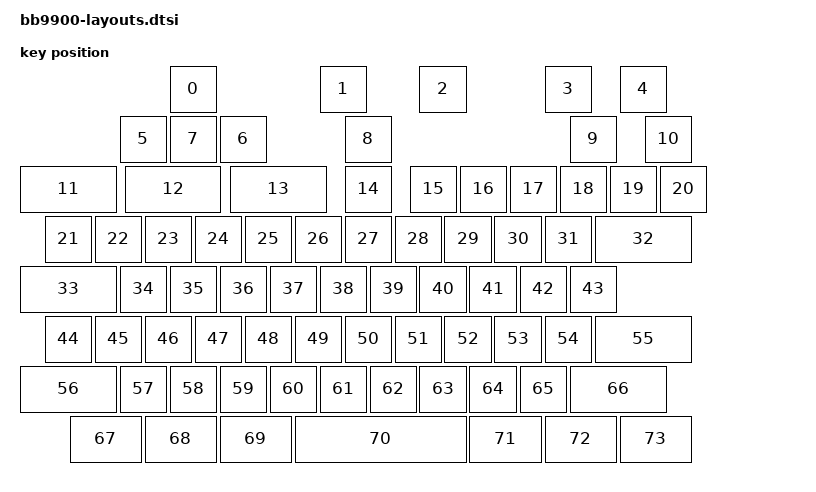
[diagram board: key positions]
/*
 * Copyright (c) 2026 The uc9900 contributors
 *
 * SPDX-License-Identifier: MIT
 */

#include <physical_layouts.dtsi>

/ {
    // Physical layout for the uConsole keyboard with the BB9900 trackpad.
    // Coordinates are in 1/100 of a key unit, generated from config/info.json.
    bb9900_layout: bb9900_layout {
        compatible = "zmk,physical-layout";
        display-name = "uConsole 9900";
        transform = <&default_transform>;

        keys  //                     w   h    x    y   rot    rx    ry
            = <&key_physical_attrs 100 100  300    0   0    0     0>
            , <&key_physical_attrs 100 100  600    0   0    0     0>
            , <&key_physical_attrs 100 100  800    0   0    0     0>
            , <&key_physical_attrs 100 100 1050    0   0    0     0>
            , <&key_physical_attrs 100 100 1200    0   0    0     0>
            , <&key_physical_attrs 100 100  200  100   0    0     0>
            , <&key_physical_attrs 100 100  400  100   0    0     0>
            , <&key_physical_attrs 100 100  300  100   0    0     0>
            , <&key_physical_attrs 100 100  650  100   0    0     0>
            , <&key_physical_attrs 100 100 1100  100   0    0     0>
            , <&key_physical_attrs 100 100 1250  100   0    0     0>
            , <&key_physical_attrs 200 100    0  200   0    0     0>
            , <&key_physical_attrs 200 100  210  200   0    0     0>
            , <&key_physical_attrs 200 100  420  200   0    0     0>
            , <&key_physical_attrs 100 100  650  200   0    0     0>
            , <&key_physical_attrs 100 100  780  200   0    0     0>
            , <&key_physical_attrs 100 100  880  200   0    0     0>
            , <&key_physical_attrs 100 100  980  200   0    0     0>
            , <&key_physical_attrs 100 100 1080  200   0    0     0>
            , <&key_physical_attrs 100 100 1180  200   0    0     0>
            , <&key_physical_attrs 100 100 1280  200   0    0     0>
            , <&key_physical_attrs 100 100   50  300   0    0     0>
            , <&key_physical_attrs 100 100  150  300   0    0     0>
            , <&key_physical_attrs 100 100  250  300   0    0     0>
            , <&key_physical_attrs 100 100  350  300   0    0     0>
            , <&key_physical_attrs 100 100  450  300   0    0     0>
            , <&key_physical_attrs 100 100  550  300   0    0     0>
            , <&key_physical_attrs 100 100  650  300   0    0     0>
            , <&key_physical_attrs 100 100  750  300   0    0     0>
            , <&key_physical_attrs 100 100  850  300   0    0     0>
            , <&key_physical_attrs 100 100  950  300   0    0     0>
            , <&key_physical_attrs 100 100 1050  300   0    0     0>
            , <&key_physical_attrs 200 100 1150  300   0    0     0>
            , <&key_physical_attrs 200 100    0  400   0    0     0>
            , <&key_physical_attrs 100 100  200  400   0    0     0>
            , <&key_physical_attrs 100 100  300  400   0    0     0>
            , <&key_physical_attrs 100 100  400  400   0    0     0>
            , <&key_physical_attrs 100 100  500  400   0    0     0>
            , <&key_physical_attrs 100 100  600  400   0    0     0>
            , <&key_physical_attrs 100 100  700  400   0    0     0>
            , <&key_physical_attrs 100 100  800  400   0    0     0>
            , <&key_physical_attrs 100 100  900  400   0    0     0>
            , <&key_physical_attrs 100 100 1000  400   0    0     0>
            , <&key_physical_attrs 100 100 1100  400   0    0     0>
            , <&key_physical_attrs 100 100   50  500   0    0     0>
            , <&key_physical_attrs 100 100  150  500   0    0     0>
            , <&key_physical_attrs 100 100  250  500   0    0     0>
            , <&key_physical_attrs 100 100  350  500   0    0     0>
            , <&key_physical_attrs 100 100  450  500   0    0     0>
            , <&key_physical_attrs 100 100  550  500   0    0     0>
            , <&key_physical_attrs 100 100  650  500   0    0     0>
            , <&key_physical_attrs 100 100  750  500   0    0     0>
            , <&key_physical_attrs 100 100  850  500   0    0     0>
            , <&key_physical_attrs 100 100  950  500   0    0     0>
            , <&key_physical_attrs 100 100 1050  500   0    0     0>
            , <&key_physical_attrs 200 100 1150  500   0    0     0>
            , <&key_physical_attrs 200 100    0  600   0    0     0>
            , <&key_physical_attrs 100 100  200  600   0    0     0>
            , <&key_physical_attrs 100 100  300  600   0    0     0>
            , <&key_physical_attrs 100 100  400  600   0    0     0>
            , <&key_physical_attrs 100 100  500  600   0    0     0>
            , <&key_physical_attrs 100 100  600  600   0    0     0>
            , <&key_physical_attrs 100 100  700  600   0    0     0>
            , <&key_physical_attrs 100 100  800  600   0    0     0>
            , <&key_physical_attrs 100 100  900  600   0    0     0>
            , <&key_physical_attrs 100 100 1000  600   0    0     0>
            , <&key_physical_attrs 200 100 1100  600   0    0     0>
            , <&key_physical_attrs 150 100  100  700   0    0     0>
            , <&key_physical_attrs 150 100  250  700   0    0     0>
            , <&key_physical_attrs 150 100  400  700   0    0     0>
            , <&key_physical_attrs 350 100  550  700   0    0     0>
            , <&key_physical_attrs 150 100  900  700   0    0     0>
            , <&key_physical_attrs 150 100 1050  700   0    0     0>
            , <&key_physical_attrs 150 100 1200  700   0    0     0>
            ;
    };
};
